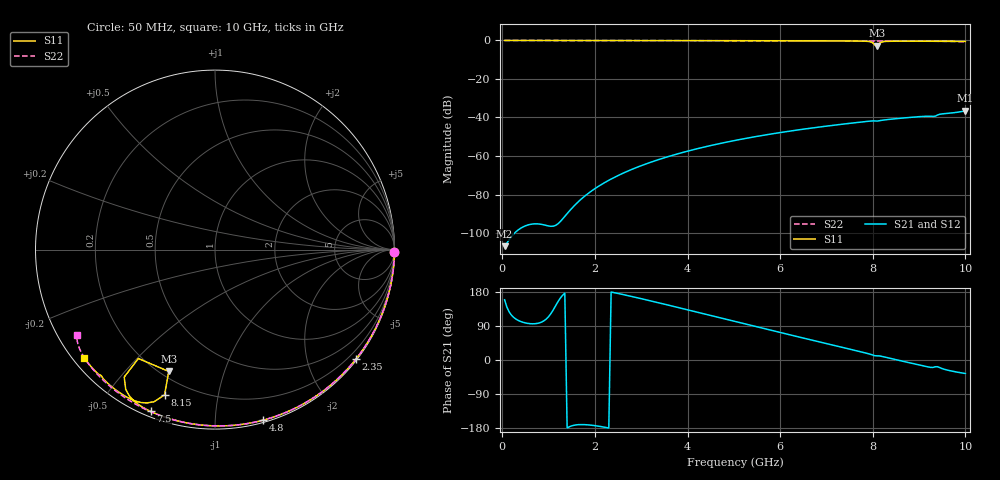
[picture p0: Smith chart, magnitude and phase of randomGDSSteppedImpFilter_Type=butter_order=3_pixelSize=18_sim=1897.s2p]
! freq	dB(S11)	phase(S11)	dB(S12)	phase(S12)
!  dB(S21)	phase(S21)	dB(S22)	phase(S22)
!S-par simulation data
#  GHz  S  DB  R 50
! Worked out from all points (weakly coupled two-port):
!   200 points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, 50 MHz to 10 GHz, reference 50 ohm
!   highest |S21| = -36.47 dB at 10 GHz (marker M1); lowest = -106.8 dB at 50 MHz (marker M2)
!   lowest |S11| = -2.8 dB at 8.1 GHz (marker M3), VSWR 6.30, Z = 11.6 - j33.2 ohm
!   |S11| at or under -10 dB: nowhere
!   |S22| runs from -0.8 to 0.0 dB; largest |S21 - S12| = 0
!   S11 on the Smith chart (normalised r, x): 50 MHz: open; 2.35 GHz: 0.03, -2.93; 4.8 GHz: 0.02, -1.32; 7.5 GHz: 0.02, -0.68; 8.15 GHz: 0.12, -0.71; 10 GHz: 0.03, -0.36
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0.05  -0.00 -0.8  -106.83 158.9  -106.83 158.9  -0.00 -0.8
0.85  -0.02 -13.9  -95.51 100.1  -95.51 100.1  -0.01 -13.9
1.75  -0.04 -28.3  -81.44 -170.5  -81.44 -170.5  -0.04 -28.3
1.85  -0.04 -29.9  -79.52 -171.1  -79.52 -171.1  -0.04 -29.9
2.35  -0.05 -37.7  -71.97 179.4  -71.97 179.4  -0.05 -37.7
2.85  -0.06 -45.5  -66.43 166.1  -66.43 166.1  -0.06 -45.4
3.4  -0.07 -53.8  -61.67 150.3  -61.67 150.3  -0.07 -53.8
4.8  -0.11 -74.2  -53.01 108.5  -53.01 108.5  -0.11 -74.2
5.05  -0.12 -77.8  -51.80 101.0  -51.80 101.0  -0.12 -77.7
6.7  -0.20 -100.4  -45.42 52.0  -45.42 52.0  -0.19 -100.1
7.5  -0.26 -111.7  -43.05 28.7  -43.05 28.7  -0.24 -110.5
7.85  -0.41 -118.7  -42.11 18.3  -42.11 18.3  -0.27 -115.1
7.95  -0.69 -122.6  -41.86 15.0  -41.86 15.0  -0.28 -116.3
8  -1.20 -125.5  -41.77 13.1  -41.77 13.1  -0.28 -117.0
8.05  -2.59 -125.1  -41.80 11.2  -41.80 11.2  -0.28 -117.6
8.1  -2.78 -110.8  -41.86 11.1  -41.86 11.1  -0.29 -118.3
8.15  -1.34 -109.1  -41.64 10.7  -41.64 10.7  -0.29 -118.9
8.2  -0.79 -111.8  -41.44 9.5  -41.44 9.5  -0.30 -119.6
8.35  -0.44 -117.0  -41.00 5.2  -41.00 5.2  -0.31 -121.5
9.35  -0.49 -132.1  -39.31 -17.8  -39.31 -17.8  -0.42 -135.0
9.5  -0.43 -133.8  -38.12 -22.8  -38.12 -22.8  -0.44 -137.3
10  -0.48 -140.4  -36.47 -35.7  -36.47 -35.7  -0.85 -148.2
